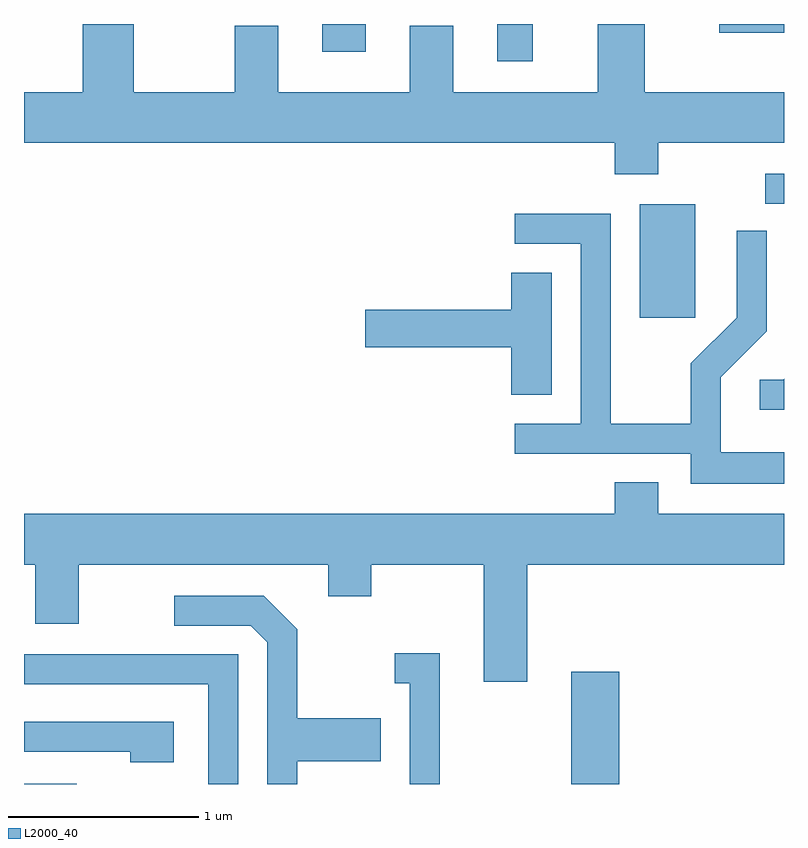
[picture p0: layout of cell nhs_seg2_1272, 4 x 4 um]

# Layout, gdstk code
import gdstk
lib = gdstk.Library(unit=1e-6, precision=1e-09)
def R(c, l, rs):  # rectangles x0, y0, x1, y1
    for r in rs: c.add(gdstk.rectangle(r[:2], r[2:], *l))
def P(c, l, *ps):  # polygons
    for p in ps: c.add(gdstk.Polygon(p, *l))
L2000_40 = (2000, 40)

nhs_seg2_1272 = lib.new_cell('nhs_seg2_1272')
R(nhs_seg2_1272, L2000_40, [(221.611,1073.802,221.888,1073.804), (224.491,1073.802,224.744,1074.394), (224.851,1076.256,225.144,1076.854), (225.513,1076.856,225.611,1077.014), (224.101,1077.606,224.289,1077.802), (223.181,1077.656,223.409,1077.802), (225.271,1077.756,225.611,1077.802)])
P(nhs_seg2_1272, L2000_40, [(224.949,1077.176),(225.611,1077.176),(225.611,1077.444),(224.879,1077.444),(224.879,1077.802),(224.631,1077.802),(224.631,1077.444),(223.869,1077.444),(223.869,1077.794),(223.641,1077.794),(223.641,1077.444),(222.949,1077.444),(222.949,1077.794),(222.721,1077.794),(222.721,1077.444),(222.189,1077.444),(222.189,1077.802),(221.921,1077.802),(221.921,1077.444),(221.611,1077.444),(221.611,1077.176),(224.721,1077.176),(224.721,1077.011),(224.949,1077.011)],
  [(225.611,1075.549),(225.279,1075.549),(225.279,1075.944),(225.519,1076.184),(225.519,1076.713),(225.361,1076.713),(225.361,1076.257),(225.121,1076.017),(225.121,1075.699),(224.699,1075.699),(224.699,1076.804),(224.193,1076.804),(224.193,1076.646),(224.541,1076.646),(224.541,1075.699),(224.193,1075.699),(224.193,1075.541),(225.121,1075.541),(225.121,1075.381),(225.611,1075.381)],
  [(224.389,1076.494),(224.176,1076.494),(224.176,1076.299),(223.406,1076.299),(223.406,1076.101),(224.176,1076.101),(224.176,1075.851),(224.389,1075.851)],
  [(225.611,1075.936),(225.604,1075.929),(225.483,1075.929),(225.483,1075.771),(225.611,1075.771)],
  [(224.259,1074.956),(225.611,1074.956),(225.611,1075.224),(224.949,1075.224),(224.949,1075.389),(224.721,1075.389),(224.721,1075.224),(221.611,1075.224),(221.611,1074.956),(221.671,1074.956),(221.671,1074.646),(221.899,1074.646),(221.899,1074.956),(223.211,1074.956),(223.211,1074.791),(223.439,1074.791),(223.439,1074.956),(224.031,1074.956),(224.031,1074.341),(224.259,1074.341)],
  [(223.049,1073.921),(223.489,1073.921),(223.489,1074.149),(223.049,1074.149),(223.049,1074.617),(222.872,1074.794),(222.403,1074.794),(222.403,1074.636),(222.804,1074.636),(222.891,1074.549),(222.891,1073.802),(223.049,1073.802)],
  [(223.799,1074.489),(223.563,1074.489),(223.563,1074.331),(223.641,1074.331),(223.641,1073.802),(223.799,1073.802)],
  [(222.739,1074.484),(221.611,1074.484),(221.611,1074.326),(222.581,1074.326),(222.581,1073.802),(222.739,1073.802)],
  [(222.399,1074.129),(221.611,1074.129),(221.611,1073.971),(222.171,1073.971),(222.171,1073.916),(222.399,1073.916)])

lib.write_gds('nhs_seg2_1272.gds')
